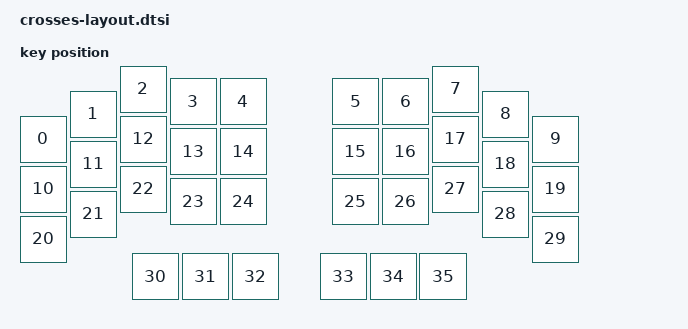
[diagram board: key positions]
/ {
    crosses_layout: crosses_layout {
        compatible = "zmk,physical-layout";
        display-name = "crosses";

        keys
            = <&key_physical_attrs 100 100    0  100       0     0     0>
            , <&key_physical_attrs 100 100  100   50       0     0     0>
            , <&key_physical_attrs 100 100  200    0       0     0     0>
            , <&key_physical_attrs 100 100  300   25       0     0     0>
            , <&key_physical_attrs 100 100  400   25       0     0     0>

            , <&key_physical_attrs 100 100  625   25       0     0     0>
            , <&key_physical_attrs 100 100  725   25       0     0     0>
            , <&key_physical_attrs 100 100  825    0       0     0     0>
            , <&key_physical_attrs 100 100  925   50       0     0     0>
            , <&key_physical_attrs 100 100 1025  100       0     0     0>

            , <&key_physical_attrs 100 100    0  200       0     0     0>
            , <&key_physical_attrs 100 100  100  150       0     0     0>
            , <&key_physical_attrs 100 100  200  100       0     0     0>
            , <&key_physical_attrs 100 100  300  125       0     0     0>
            , <&key_physical_attrs 100 100  400  125       0     0     0>

            , <&key_physical_attrs 100 100  625  125       0     0     0>
            , <&key_physical_attrs 100 100  725  125       0     0     0>
            , <&key_physical_attrs 100 100  825  100       0     0     0>
            , <&key_physical_attrs 100 100  925  150       0     0     0>
            , <&key_physical_attrs 100 100 1025  200       0     0     0>

            , <&key_physical_attrs 100 100    0  300       0     0     0>
            , <&key_physical_attrs 100 100  100  250       0     0     0>
            , <&key_physical_attrs 100 100  200  200       0     0     0>
            , <&key_physical_attrs 100 100  300  225       0     0     0>
            , <&key_physical_attrs 100 100  400  225       0     0     0>

            , <&key_physical_attrs 100 100  625  225       0     0     0>
            , <&key_physical_attrs 100 100  725  225       0     0     0>
            , <&key_physical_attrs 100 100  825  200       0     0     0>
            , <&key_physical_attrs 100 100  925  250       0     0     0>
            , <&key_physical_attrs 100 100 1025  300       0     0     0>

            , <&key_physical_attrs 100 100  225  375       0     0     0>
            , <&key_physical_attrs 100 100  325  375       0     0     0>
            , <&key_physical_attrs 100 100  425  375       0     0     0>

            , <&key_physical_attrs 100 100  600  375       0     0     0>
            , <&key_physical_attrs 100 100  700  375       0     0     0>
            , <&key_physical_attrs 100 100  800  375       0     0     0>
            ;
    };
};
